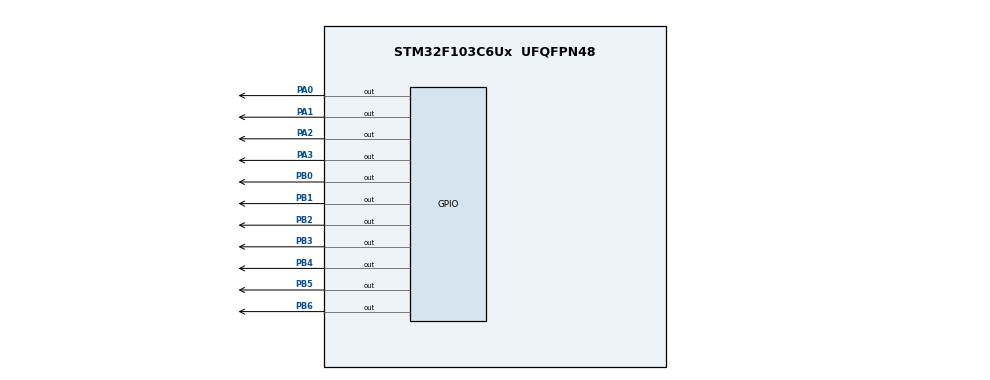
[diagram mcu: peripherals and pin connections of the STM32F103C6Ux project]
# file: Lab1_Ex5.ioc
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Mcu.Family=STM32F1
Mcu.Name=STM32F103C6Ux
Mcu.Package=UFQFPN48
NVIC.PriorityGroup=NVIC_PRIORITYGROUP_4
PA0-WKUP.Signal=GPIO_Output
PA1.Signal=GPIO_Output
PA2.Signal=GPIO_Output
PA3.Signal=GPIO_Output
PB0.Signal=GPIO_Output
PB1.Signal=GPIO_Output
PB2.Signal=GPIO_Output
PB3.Signal=GPIO_Output
PB4.Signal=GPIO_Output
PB5.Signal=GPIO_Output
PB6.Signal=GPIO_Output
ProjectManager.HeapSize=0x200
ProjectManager.StackSize=0x400
ProjectManager.TargetToolchain=STM32CubeIDE
RCC.APB1Freq_Value=8000000
RCC.APB2Freq_Value=8000000
VP_SYS_VS_ND.Mode=No_Debug
board=custom

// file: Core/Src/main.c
/* USER CODE BEGIN Header */
/**
  ******************************************************************************
  * @file           : main.c
  * @brief          : Main program body
  ******************************************************************************
  * @attention
  *
  * <h2><center>&copy; Copyright (c) 2026 STMicroelectronics.
  * All rights reserved.</center></h2>
  *
  * This software component is licensed by ST under BSD 3-Clause license,
  * the "License"; You may not use this file except in compliance with the
  * License. You may obtain a copy of the License at:
  *                        opensource.org/licenses/BSD-3-Clause
  *
  ******************************************************************************
  */
/* USER CODE END Header */
#include "main.h"

void SystemClock_Config(void);
static void MX_GPIO_Init(void);

/* USER CODE BEGIN 0 */
void display7SEG(int num);
void updateClockBuffer(void);
void displayLED(int index);
/* USER CODE END 0 */

const uint8_t SEG_CODES[10] = {
    0x40,
    0x79,
    0x24,
    0x30,
    0x19,
    0x12,
    0x02,
    0x78,
    0x00,
    0x10
};
int hour = 00, minute = 58, second = 50;
int led_buffer[4] = {0, 0, 0, 0};
int index_led = 0;
void updateClockBuffer(void) {
    led_buffer[0] = hour / 10;
    led_buffer[1] = hour % 10;
    led_buffer[2] = minute / 10;
    led_buffer[3] = minute % 10;
}
void display7SEG(int num) {
    uint8_t code = SEG_CODES[num];
    HAL_GPIO_WritePin(GPIOB, GPIO_PIN_0, (code & 0x01) ? GPIO_PIN_SET : GPIO_PIN_RESET);
    HAL_GPIO_WritePin(GPIOB, GPIO_PIN_1, (code & 0x02) ? GPIO_PIN_SET : GPIO_PIN_RESET);
    HAL_GPIO_WritePin(GPIOB, GPIO_PIN_2, (code & 0x04) ? GPIO_PIN_SET : GPIO_PIN_RESET);
    HAL_GPIO_WritePin(GPIOB, GPIO_PIN_3, (code & 0x08) ? GPIO_PIN_SET : GPIO_PIN_RESET);
    HAL_GPIO_WritePin(GPIOB, GPIO_PIN_4, (code & 0x10) ? GPIO_PIN_SET : GPIO_PIN_RESET);
    HAL_GPIO_WritePin(GPIOB, GPIO_PIN_5, (code & 0x20) ? GPIO_PIN_SET : GPIO_PIN_RESET);
    HAL_GPIO_WritePin(GPIOB, GPIO_PIN_6, (code & 0x40) ? GPIO_PIN_SET : GPIO_PIN_RESET);
}

void displayLED(int index) {
    HAL_GPIO_WritePin(GPIOA, GPIO_PIN_0 | GPIO_PIN_1 | GPIO_PIN_2 | GPIO_PIN_3, GPIO_PIN_RESET);

    switch (index) {
        case 0:
            display7SEG(led_buffer[0]);
            HAL_GPIO_WritePin(GPIOA, GPIO_PIN_0, GPIO_PIN_SET);
            break;
        case 1:
            display7SEG(led_buffer[1]);
            HAL_GPIO_WritePin(GPIOA, GPIO_PIN_1, GPIO_PIN_SET);
            break;
        case 2:
            display7SEG(led_buffer[2]);
            HAL_GPIO_WritePin(GPIOA, GPIO_PIN_2, GPIO_PIN_SET);
            break;
        case 3:
            display7SEG(led_buffer[3]);
            HAL_GPIO_WritePin(GPIOA, GPIO_PIN_3, GPIO_PIN_SET);
            break;
        default:
            break;
    }
}
int main(void)
{

  /* MCU Configuration--------------------------------------------------------*/

  /* Reset of all peripherals, Initializes the Flash interface and the Systick. */
  HAL_Init();

  /* Configure the system clock */
  SystemClock_Config();

  /* Initialize all configured peripherals */
  MX_GPIO_Init();

  /* Infinite loop */
  while (1)
    {

      /* USER CODE BEGIN 3 */
      second++;
      if (second >= 60){
          second = 0;
          minute++;
      }
      if(minute >= 60){
          minute = 0;
          hour++;
      }
      if(hour >= 24){
          hour = 0;
      }
      updateClockBuffer();

      for(int i = 0; i < 100; i++) {
              displayLED(index_led);
              index_led = (index_led + 1) % 4;
              HAL_Delay(10);
          }

    }
  /* USER CODE END 3 */
}

void SystemClock_Config(void)
{
  RCC_OscInitTypeDef RCC_OscInitStruct = {0};
  RCC_ClkInitTypeDef RCC_ClkInitStruct = {0};

  /** Initializes the RCC Oscillators according to the specified parameters
  * in the RCC_OscInitTypeDef structure.
  */
  RCC_OscInitStruct.OscillatorType = RCC_OSCILLATORTYPE_HSI;
  RCC_OscInitStruct.HSIState = RCC_HSI_ON;
  RCC_OscInitStruct.HSICalibrationValue = RCC_HSICALIBRATION_DEFAULT;
  RCC_OscInitStruct.PLL.PLLState = RCC_PLL_NONE;
  if (HAL_RCC_OscConfig(&RCC_OscInitStruct) != HAL_OK)
  {
    Error_Handler();
  }
  /** Initializes the CPU, AHB and APB buses clocks
  */
  RCC_ClkInitStruct.ClockType = RCC_CLOCKTYPE_HCLK|RCC_CLOCKTYPE_SYSCLK
                              |RCC_CLOCKTYPE_PCLK1|RCC_CLOCKTYPE_PCLK2;
  RCC_ClkInitStruct.SYSCLKSource = RCC_SYSCLKSOURCE_HSI;
  RCC_ClkInitStruct.AHBCLKDivider = RCC_SYSCLK_DIV1;
  RCC_ClkInitStruct.APB1CLKDivider = RCC_HCLK_DIV1;
  RCC_ClkInitStruct.APB2CLKDivider = RCC_HCLK_DIV1;

  if (HAL_RCC_ClockConfig(&RCC_ClkInitStruct, FLASH_LATENCY_0) != HAL_OK)
  {
    Error_Handler();
  }
}

static void MX_GPIO_Init(void)
{
  GPIO_InitTypeDef GPIO_InitStruct = {0};

  /* GPIO Ports Clock Enable */
  __HAL_RCC_GPIOA_CLK_ENABLE();
  __HAL_RCC_GPIOB_CLK_ENABLE();

  /*Configure GPIO pin Output Level */
  HAL_GPIO_WritePin(GPIOA, GPIO_PIN_0|GPIO_PIN_1|GPIO_PIN_2|GPIO_PIN_3, GPIO_PIN_RESET);

  /*Configure GPIO pin Output Level */
  HAL_GPIO_WritePin(GPIOB, GPIO_PIN_0|GPIO_PIN_1|GPIO_PIN_2|GPIO_PIN_3
                          |GPIO_PIN_4|GPIO_PIN_5|GPIO_PIN_6, GPIO_PIN_RESET);

  /*Configure GPIO pins : PA0 PA1 PA2 PA3 */
  GPIO_InitStruct.Pin = GPIO_PIN_0|GPIO_PIN_1|GPIO_PIN_2|GPIO_PIN_3;
  GPIO_InitStruct.Mode = GPIO_MODE_OUTPUT_PP;
  GPIO_InitStruct.Pull = GPIO_NOPULL;
  GPIO_InitStruct.Speed = GPIO_SPEED_FREQ_LOW;
  HAL_GPIO_Init(GPIOA, &GPIO_InitStruct);

  /*Configure GPIO pins : PB0 PB1 PB2 PB3
                           PB4 PB5 PB6 */
  GPIO_InitStruct.Pin = GPIO_PIN_0|GPIO_PIN_1|GPIO_PIN_2|GPIO_PIN_3
                          |GPIO_PIN_4|GPIO_PIN_5|GPIO_PIN_6;
  GPIO_InitStruct.Mode = GPIO_MODE_OUTPUT_PP;
  GPIO_InitStruct.Pull = GPIO_NOPULL;
  GPIO_InitStruct.Speed = GPIO_SPEED_FREQ_LOW;
  HAL_GPIO_Init(GPIOB, &GPIO_InitStruct);

}

void Error_Handler(void)
{
  __disable_irq();
  while (1)
  {
  }
}

/************************ (C) COPYRIGHT STMicroelectronics *****END OF FILE****/
